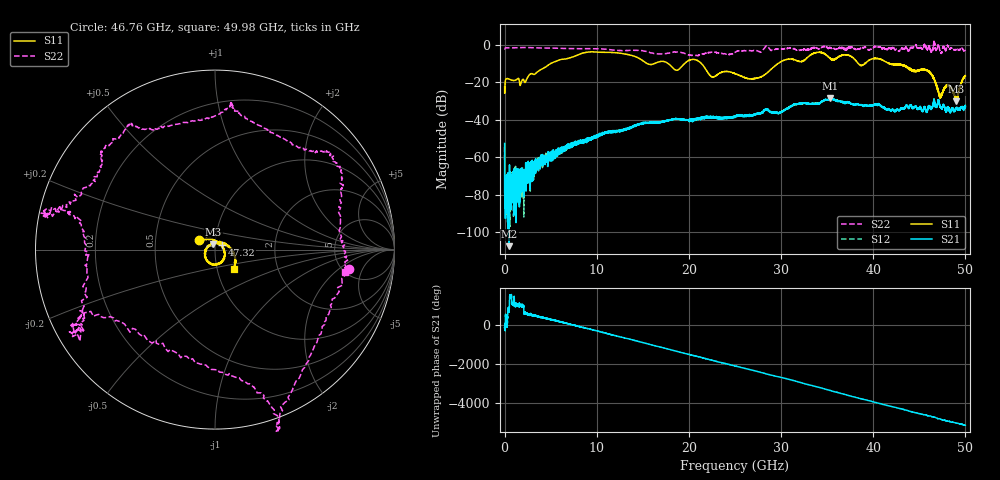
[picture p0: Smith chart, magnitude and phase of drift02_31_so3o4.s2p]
!Created with skrf (http://scikit-rf.org).
# Hz S RI R 50.0
!freq ReS11 ImS11 ReS21 ImS21 ReS12 ImS12 ReS22 ImS22
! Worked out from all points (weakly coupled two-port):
!   10001 points, 300 kHz to 50 GHz, reference 50 ohm
!   highest |S21| = -28.56 dB at 35.32 GHz (marker M1); lowest = -107.7 dB at 500.3 MHz (marker M2)
!   lowest |S11| = -30.1 dB at 49.02 GHz (marker M3), VSWR 1.06, Z = 49 + j2.91 ohm
!   |S11| at or under -10 dB: start of sweep to 4.957 GHz; 21.38 GHz to 29.63 GHz (8.254 GHz wide, 32.4 % of centre); 41.83 GHz to end of sweep (the widest 3 of 9)
!   |S22| runs from -5.7 to 2.5 dB; largest |S21 - S12| = 0.0038
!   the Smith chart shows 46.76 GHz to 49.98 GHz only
!   S11 on the Smith chart (normalised r, x): 46.76 GHz: 0.83, +0.09; 47.32 GHz: 1.08, +0.06; 49.98 GHz: 1.20, -0.27
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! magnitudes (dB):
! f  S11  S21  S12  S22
! 300 kHz  -22.4  -52.6  -54.5  -2.1
! 255.3 MHz  -17.9  -89.7  -71.7  -1.4
! 500.3 MHz  -18.2  -107.7  -74.3  -1.5
! 1.875 GHz  -19.0  -78.3  -71.9  -1.3
! 3.845 GHz  -13.3  -62.4  -63.2  -1.5
! 8.335 GHz  -4.5  -51.5  -51.5  -1.9
! 16.67 GHz  -9.1  -41.4  -41.5  -4.7
! 18.7 GHz  -13.5  -39.6  -39.4  -3.7
! 20.6 GHz  -7.7  -39.6  -40.0  -5.7
! 22.5 GHz  -17.1  -38.5  -38.8  -3.7
! 25 GHz  -15.3  -38.4  -38.5  -3.9
! 27.5 GHz  -17.6  -36.7  -36.6  -3.2
! 33.34 GHz  -4.9  -31.4  -31.3  -1.5
! 35.32 GHz  -7.1  -28.6  -28.8  -1.4
! 41.67 GHz  -9.7  -34.2  -34.4  -1.8
! 45.76 GHz  -13.3  -35.5  -35.6  -1.7
! 46.76 GHz  -19.8  -32.6  -32.9  -2.4
! 47.32 GHz  -26.5  -33.2  -33.3  -3.9
! 48.15 GHz  -21.6  -33.5  -33.3  -0.8
! 49.02 GHz  -30.1  -33.6  -34.0  -2.0
! 49.98 GHz  -16.4  -32.9  -32.6  -2.7
! 50 GHz  -16.5  -32.9  -32.9  -2.7
